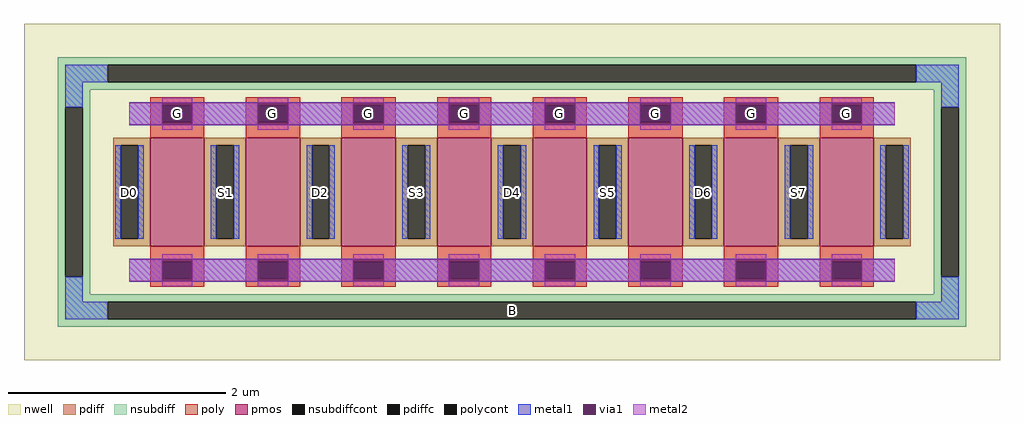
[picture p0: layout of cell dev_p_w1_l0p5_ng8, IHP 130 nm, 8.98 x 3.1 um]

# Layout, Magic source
magic
tech ihp-sg13cmos5l
magscale 1 2
<< nwell >>
rect -898 -310 898 310
<< pmos >>
rect -666 -100 -566 100
rect -490 -100 -390 100
rect -314 -100 -214 100
rect -138 -100 -38 100
rect 38 -100 138 100
rect 214 -100 314 100
rect 390 -100 490 100
rect 566 -100 666 100
<< pdiff >>
rect -734 86 -666 100
rect -734 -86 -720 86
rect -688 -86 -666 86
rect -734 -100 -666 -86
rect -566 86 -490 100
rect -566 -86 -544 86
rect -512 -86 -490 86
rect -566 -100 -490 -86
rect -390 86 -314 100
rect -390 -86 -368 86
rect -336 -86 -314 86
rect -390 -100 -314 -86
rect -214 86 -138 100
rect -214 -86 -192 86
rect -160 -86 -138 86
rect -214 -100 -138 -86
rect -38 86 38 100
rect -38 -86 -16 86
rect 16 -86 38 86
rect -38 -100 38 -86
rect 138 86 214 100
rect 138 -86 160 86
rect 192 -86 214 86
rect 138 -100 214 -86
rect 314 86 390 100
rect 314 -86 336 86
rect 368 -86 390 86
rect 314 -100 390 -86
rect 490 86 566 100
rect 490 -86 512 86
rect 544 -86 566 86
rect 490 -100 566 -86
rect 666 86 734 100
rect 666 -86 688 86
rect 720 -86 734 86
rect 666 -100 734 -86
<< pdiffc >>
rect -720 -86 -688 86
rect -544 -86 -512 86
rect -368 -86 -336 86
rect -192 -86 -160 86
rect -16 -86 16 86
rect 160 -86 192 86
rect 336 -86 368 86
rect 512 -86 544 86
rect 688 -86 720 86
<< nsubdiff >>
rect -836 234 836 248
rect -836 202 -744 234
rect 744 202 836 234
rect -836 188 836 202
rect -836 156 -776 188
rect -836 -156 -822 156
rect -790 -156 -776 156
rect 776 156 836 188
rect -836 -188 -776 -156
rect 776 -156 790 156
rect 822 -156 836 156
rect 776 -188 836 -156
rect -836 -202 836 -188
rect -836 -234 -744 -202
rect 744 -234 836 -202
rect -836 -248 836 -234
<< nsubdiffcont >>
rect -744 202 744 234
rect -822 -156 -790 156
rect 790 -156 822 156
rect -744 -234 744 -202
<< poly >>
rect -666 160 -566 174
rect -666 128 -644 160
rect -588 128 -566 160
rect -666 100 -566 128
rect -490 160 -390 174
rect -490 128 -468 160
rect -412 128 -390 160
rect -490 100 -390 128
rect -314 160 -214 174
rect -314 128 -292 160
rect -236 128 -214 160
rect -314 100 -214 128
rect -138 160 -38 174
rect -138 128 -116 160
rect -60 128 -38 160
rect -138 100 -38 128
rect 38 160 138 174
rect 38 128 60 160
rect 116 128 138 160
rect 38 100 138 128
rect 214 160 314 174
rect 214 128 236 160
rect 292 128 314 160
rect 214 100 314 128
rect 390 160 490 174
rect 390 128 412 160
rect 468 128 490 160
rect 390 100 490 128
rect 566 160 666 174
rect 566 128 588 160
rect 644 128 666 160
rect 566 100 666 128
rect -666 -128 -566 -100
rect -666 -160 -644 -128
rect -588 -160 -566 -128
rect -666 -174 -566 -160
rect -490 -128 -390 -100
rect -490 -160 -468 -128
rect -412 -160 -390 -128
rect -490 -174 -390 -160
rect -314 -128 -214 -100
rect -314 -160 -292 -128
rect -236 -160 -214 -128
rect -314 -174 -214 -160
rect -138 -128 -38 -100
rect -138 -160 -116 -128
rect -60 -160 -38 -128
rect -138 -174 -38 -160
rect 38 -128 138 -100
rect 38 -160 60 -128
rect 116 -160 138 -128
rect 38 -174 138 -160
rect 214 -128 314 -100
rect 214 -160 236 -128
rect 292 -160 314 -128
rect 214 -174 314 -160
rect 390 -128 490 -100
rect 390 -160 412 -128
rect 468 -160 490 -128
rect 390 -174 490 -160
rect 566 -128 666 -100
rect 566 -160 588 -128
rect 644 -160 666 -128
rect 566 -174 666 -160
<< polycont >>
rect -644 128 -588 160
rect -468 128 -412 160
rect -292 128 -236 160
rect -116 128 -60 160
rect 60 128 116 160
rect 236 128 292 160
rect 412 128 468 160
rect 588 128 644 160
rect -644 -160 -588 -128
rect -468 -160 -412 -128
rect -292 -160 -236 -128
rect -116 -160 -60 -128
rect 60 -160 116 -128
rect 236 -160 292 -128
rect 412 -160 468 -128
rect 588 -160 644 -128
<< metal1 >>
rect -822 202 -744 234
rect 744 202 822 234
rect -822 156 -790 202
rect -704 164 704 165
rect -704 124 -644 164
rect -588 124 -468 164
rect -412 124 -292 164
rect -236 124 -116 164
rect -60 124 60 164
rect 116 124 236 164
rect 292 124 412 164
rect 468 124 588 164
rect 644 124 704 164
rect -704 123 704 124
rect 790 156 822 202
rect -730 -86 -720 86
rect -688 -86 -678 86
rect -554 -86 -544 86
rect -512 -86 -502 86
rect -378 -86 -368 86
rect -336 -86 -326 86
rect -202 -86 -192 86
rect -160 -86 -150 86
rect -26 -86 -16 86
rect 16 -86 26 86
rect 150 -86 160 86
rect 192 -86 202 86
rect 326 -86 336 86
rect 368 -86 378 86
rect 502 -86 512 86
rect 544 -86 554 86
rect 678 -86 688 86
rect 720 -86 730 86
rect -822 -202 -790 -156
rect -704 -124 704 -123
rect -704 -164 -644 -124
rect -588 -164 -468 -124
rect -412 -164 -292 -124
rect -236 -164 -116 -124
rect -60 -164 60 -124
rect 116 -164 236 -124
rect 292 -164 412 -124
rect 468 -164 588 -124
rect 644 -164 704 -124
rect -704 -165 704 -164
rect 790 -202 822 -156
rect -822 -234 -744 -202
rect 744 -234 822 -202
<< via1 >>
rect -644 160 -588 164
rect -644 128 -588 160
rect -644 124 -588 128
rect -468 160 -412 164
rect -468 128 -412 160
rect -468 124 -412 128
rect -292 160 -236 164
rect -292 128 -236 160
rect -292 124 -236 128
rect -116 160 -60 164
rect -116 128 -60 160
rect -116 124 -60 128
rect 60 160 116 164
rect 60 128 116 160
rect 60 124 116 128
rect 236 160 292 164
rect 236 128 292 160
rect 236 124 292 128
rect 412 160 468 164
rect 412 128 468 160
rect 412 124 468 128
rect 588 160 644 164
rect 588 128 644 160
rect 588 124 644 128
rect -644 -128 -588 -124
rect -644 -160 -588 -128
rect -644 -164 -588 -160
rect -468 -128 -412 -124
rect -468 -160 -412 -128
rect -468 -164 -412 -160
rect -292 -128 -236 -124
rect -292 -160 -236 -128
rect -292 -164 -236 -160
rect -116 -128 -60 -124
rect -116 -160 -60 -128
rect -116 -164 -60 -160
rect 60 -128 116 -124
rect 60 -160 116 -128
rect 60 -164 116 -160
rect 236 -128 292 -124
rect 236 -160 292 -128
rect 236 -164 292 -160
rect 412 -128 468 -124
rect 412 -160 468 -128
rect 412 -164 468 -160
rect 588 -128 644 -124
rect 588 -160 644 -128
rect 588 -164 644 -160
<< metal2 >>
rect -644 164 -588 173
rect -468 164 -412 173
rect -292 164 -236 173
rect -116 164 -60 173
rect 60 164 116 173
rect 236 164 292 173
rect 412 164 468 173
rect 588 164 644 173
rect -704 124 -644 164
rect -588 124 -468 164
rect -412 124 -292 164
rect -236 124 -116 164
rect -60 124 60 164
rect 116 124 236 164
rect 292 124 412 164
rect 468 124 588 164
rect 644 124 704 164
rect -644 115 -588 124
rect -468 115 -412 124
rect -292 115 -236 124
rect -116 115 -60 124
rect 60 115 116 124
rect 236 115 292 124
rect 412 115 468 124
rect 588 115 644 124
rect -644 -124 -588 -115
rect -468 -124 -412 -115
rect -292 -124 -236 -115
rect -116 -124 -60 -115
rect 60 -124 116 -115
rect 236 -124 292 -115
rect 412 -124 468 -115
rect 588 -124 644 -115
rect -704 -164 -644 -124
rect -588 -164 -468 -124
rect -412 -164 -292 -124
rect -236 -164 -116 -124
rect -60 -164 60 -124
rect 116 -164 236 -124
rect 292 -164 412 -124
rect 468 -164 588 -124
rect 644 -164 704 -124
rect -644 -173 -588 -164
rect -468 -173 -412 -164
rect -292 -173 -236 -164
rect -116 -173 -60 -164
rect 60 -173 116 -164
rect 236 -173 292 -164
rect 412 -173 468 -164
rect 588 -173 644 -164
<< labels >>
rlabel nsubdiffcont 0 -218 0 -218 0 B
port 1 nsew
rlabel pdiffc -704 0 -704 0 0 D0
port 2 nsew
rlabel polycont -616 144 -616 144 0 G
port 3 nsew
rlabel pdiffc -528 0 -528 0 0 S1
port 4 nsew
rlabel polycont -440 144 -440 144 0 G
port 3 nsew
rlabel pdiffc -352 0 -352 0 0 D2
port 5 nsew
rlabel polycont -264 144 -264 144 0 G
port 3 nsew
rlabel pdiffc -176 0 -176 0 0 S3
port 6 nsew
rlabel polycont -88 144 -88 144 0 G
port 3 nsew
rlabel pdiffc 0 0 0 0 0 D4
port 7 nsew
rlabel polycont 88 144 88 144 0 G
port 3 nsew
rlabel pdiffc 176 0 176 0 0 S5
port 8 nsew
rlabel polycont 264 144 264 144 0 G
port 3 nsew
rlabel pdiffc 352 0 352 0 0 D6
port 9 nsew
rlabel polycont 440 144 440 144 0 G
port 3 nsew
rlabel pdiffc 528 0 528 0 0 S7
port 10 nsew
rlabel polycont 616 144 616 144 0 G
port 3 nsew
<< properties >>
string FIXED_BBOX -806 -218 806 218
string gencell sg13_lv_pmos
string library sg13cmos5l
string parameters w 1 l 0.5 m 1 ng 8 diffcov 100 polycov 100 guard 1 glc 1 grc 1 gtc 1 gbc 1 tbcov 100 rlcov 100 topc 1 botc 1 poverlap 0 doverlap 1 lmin 0.13 wmin 0.15 class mosfet compatible {sg13_lv_pmos sg13_hv_pmos} full_metal 1 conn_gates 1 gate_ring 0 ccols 1 viasrc 0 viadrn 0 viagate 100 viagb 0 viagr 0 viagl 0 viagt 0 doports 1
<< end >>
